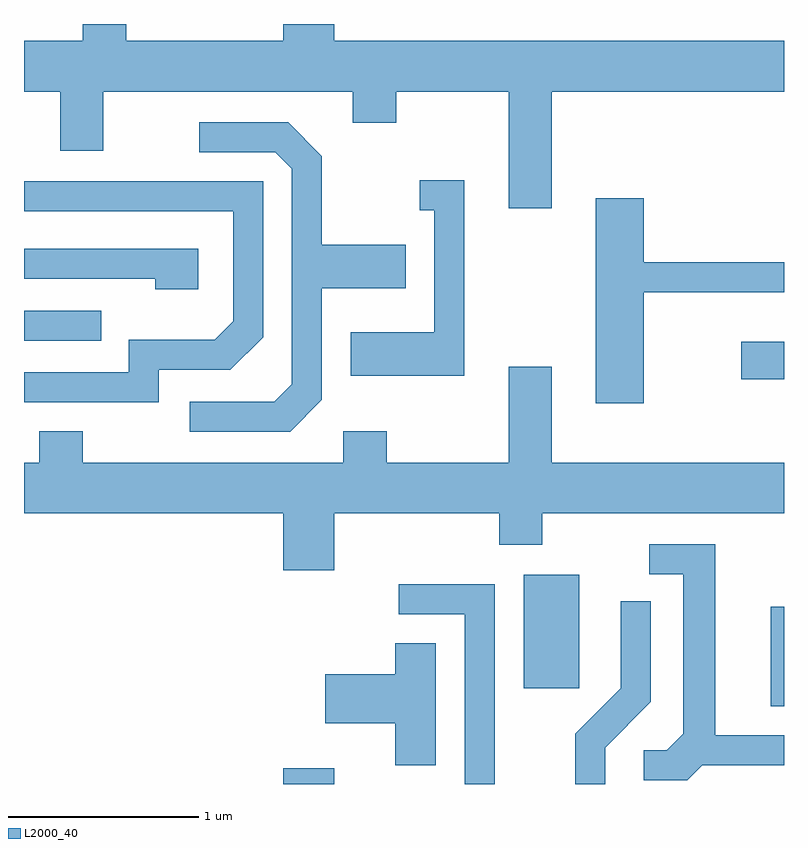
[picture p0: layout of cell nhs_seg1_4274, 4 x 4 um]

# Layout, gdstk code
import gdstk
lib = gdstk.Library(unit=1e-6, precision=1e-09)
def R(c, l, rs):  # rectangles x0, y0, x1, y1
    for r in rs: c.add(gdstk.rectangle(r[:2], r[2:], *l))
def P(c, l, *ps):  # polygons
    for p in ps: c.add(gdstk.Polygon(p, *l))
L2000_40 = (2000, 40)

nhs_seg1_4274 = lib.new_cell('nhs_seg1_4274')
R(nhs_seg1_4274, L2000_40, [(314.976,893.712,315.244,893.794), (317.541,894.121,317.611,894.644), (316.241,894.216,316.534,894.814), (317.386,895.841,317.611,896.039), (313.611,896.046,314.018,896.204)])
P(nhs_seg1_4274, L2000_40, [(316.389,897.356),(317.611,897.356),(317.611,897.624),(315.244,897.624),(315.244,897.712),(314.976,897.712),(314.976,897.624),(314.149,897.624),(314.149,897.712),(313.921,897.712),(313.921,897.624),(313.611,897.624),(313.611,897.356),(313.801,897.356),(313.801,897.046),(314.029,897.046),(314.029,897.356),(315.341,897.356),(315.341,897.191),(315.569,897.191),(315.569,897.356),(316.161,897.356),(316.161,896.741),(316.389,896.741)],
  [(315.179,895.734),(315.179,896.321),(315.619,896.321),(315.619,896.549),(315.179,896.549),(315.179,897.017),(315.002,897.194),(314.533,897.194),(314.533,897.036),(314.934,897.036),(315.021,896.949),(315.021,895.817),(314.929,895.724),(314.483,895.724),(314.483,895.566),(315.012,895.566)],
  [(315.929,896.889),(315.693,896.889),(315.693,896.731),(315.771,896.731),(315.771,896.089),(315.331,896.089),(315.331,895.861),(315.929,895.861)],
  [(314.319,895.891),(314.697,895.891),(314.869,896.064),(314.869,896.884),(313.611,896.884),(313.611,896.726),(314.711,896.726),(314.711,896.147),(314.614,896.049),(314.161,896.049),(314.161,895.879),(313.611,895.879),(313.611,895.721),(314.319,895.721)],
  [(316.874,896.301),(317.611,896.301),(317.611,896.459),(316.874,896.459),(316.874,896.794),(316.621,896.794),(316.621,895.716),(316.874,895.716)],
  [(314.529,896.529),(313.611,896.529),(313.611,896.371),(314.301,896.371),(314.301,896.316),(314.529,896.316)],
  [(315.244,895.136),(316.111,895.136),(316.111,894.971),(316.339,894.971),(316.339,895.136),(317.611,895.136),(317.611,895.404),(316.389,895.404),(316.389,895.909),(316.161,895.909),(316.161,895.404),(315.519,895.404),(315.519,895.569),(315.291,895.569),(315.291,895.404),(313.919,895.404),(313.919,895.569),(313.691,895.569),(313.691,895.404),(313.611,895.404),(313.611,895.136),(314.976,895.136),(314.976,894.836),(315.244,894.836)],
  [(317.182,893.811),(317.611,893.811),(317.611,893.969),(317.249,893.969),(317.249,894.974),(316.903,894.974),(316.903,894.816),(317.081,894.816),(317.081,893.977),(316.994,893.889),(316.873,893.889),(316.873,893.731),(317.102,893.731)],
  [(316.089,894.764),(315.583,894.764),(315.583,894.606),(315.931,894.606),(315.931,893.712),(316.089,893.712)],
  [(316.669,893.904),(316.909,894.144),(316.909,894.673),(316.751,894.673),(316.751,894.217),(316.511,893.977),(316.511,893.712),(316.669,893.712)],
  [(315.779,894.454),(315.566,894.454),(315.566,894.289),(315.196,894.289),(315.196,894.031),(315.566,894.031),(315.566,893.811),(315.779,893.811)])

lib.write_gds('nhs_seg1_4274.gds')
